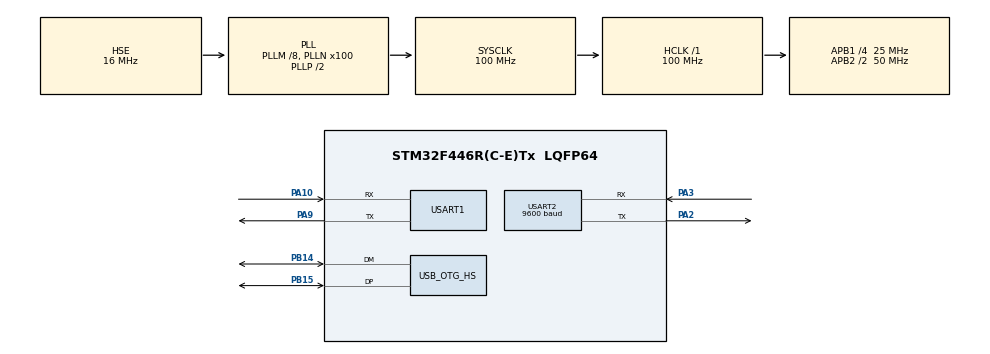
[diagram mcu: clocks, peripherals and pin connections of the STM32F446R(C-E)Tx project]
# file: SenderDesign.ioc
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Dma.Request0=USART2_RX
Dma.Request1=USART2_TX
Dma.USART2_RX.0.Direction=DMA_PERIPH_TO_MEMORY
Dma.USART2_RX.0.FIFOMode=DMA_FIFOMODE_DISABLE
Dma.USART2_RX.0.Instance=DMA1_Stream5
Dma.USART2_RX.0.MemDataAlignment=DMA_MDATAALIGN_BYTE
Dma.USART2_RX.0.MemInc=DMA_MINC_ENABLE
Dma.USART2_RX.0.Mode=DMA_CIRCULAR
Dma.USART2_RX.0.PeriphDataAlignment=DMA_PDATAALIGN_BYTE
Dma.USART2_RX.0.PeriphInc=DMA_PINC_DISABLE
Dma.USART2_RX.0.Priority=DMA_PRIORITY_LOW
Dma.USART2_TX.1.Direction=DMA_MEMORY_TO_PERIPH
Dma.USART2_TX.1.FIFOMode=DMA_FIFOMODE_DISABLE
Dma.USART2_TX.1.Instance=DMA1_Stream6
Dma.USART2_TX.1.MemDataAlignment=DMA_MDATAALIGN_BYTE
Dma.USART2_TX.1.MemInc=DMA_MINC_ENABLE
Dma.USART2_TX.1.Mode=DMA_NORMAL
Dma.USART2_TX.1.PeriphDataAlignment=DMA_PDATAALIGN_BYTE
Dma.USART2_TX.1.PeriphInc=DMA_PINC_DISABLE
Dma.USART2_TX.1.Priority=DMA_PRIORITY_LOW
Mcu.Family=STM32F4
Mcu.Name=STM32F446R(C-E)Tx
Mcu.Package=LQFP64
NVIC.DMA1_Stream5_IRQn=true\:0\:0\:false\:false\:true\:false\:true\:true
NVIC.DMA1_Stream6_IRQn=true\:0\:0\:false\:false\:true\:false\:true\:true
NVIC.OTG_HS_IRQn=true\:0\:0\:false\:false\:true\:true\:true\:true
NVIC.PriorityGroup=NVIC_PRIORITYGROUP_4
NVIC.USART2_IRQn=true\:0\:0\:false\:false\:true\:true\:true\:true
PA10.Mode=Asynchronous
PA10.Signal=USART1_RX
PA2.Mode=Asynchronous
PA2.Signal=USART2_TX
PA3.GPIO_PuPd=GPIO_PULLUP
PA3.Mode=Asynchronous
PA3.Signal=USART2_RX
PA9.Mode=Asynchronous
PA9.Signal=USART1_TX
PB14.Mode=Host_FS
PB14.Signal=USB_OTG_HS_DM
PB15.Mode=Host_FS
PB15.Signal=USB_OTG_HS_DP
PH0-OSC_IN.Mode=HSE-External-Oscillator
PH0-OSC_IN.Signal=RCC_OSC_IN
PH1-OSC_OUT.Mode=HSE-External-Oscillator
PH1-OSC_OUT.Signal=RCC_OSC_OUT
ProjectManager.HeapSize=0x200
ProjectManager.StackSize=0x400
ProjectManager.TargetToolchain=STM32CubeIDE
RCC.AHBFreq_Value=100000000
RCC.APB1CLKDivider=RCC_HCLK_DIV4
RCC.APB1Freq_Value=25000000
RCC.APB1TimFreq_Value=50000000
RCC.APB2CLKDivider=RCC_HCLK_DIV2
RCC.APB2Freq_Value=50000000
RCC.APB2TimFreq_Value=100000000
RCC.CortexFreq_Value=100000000
RCC.HCLKFreq_Value=100000000
RCC.HSE_VALUE=16000000
RCC.PLLM=8
RCC.PLLN=100
RCC.PLLQ=4
RCC.PLLSAIP=RCC_PLLSAIP_DIV4
RCC.SYSCLKFreq_VALUE=100000000
RCC.SYSCLKSource=RCC_SYSCLKSOURCE_PLLCLK
RCC.USBCLockSelection=RCC_CLK48CLKSOURCE_PLLSAIP
RCC.USBFreq_Value=48000000
RCC.VCOOutputFreq_Value=200000000
USART1.VirtualMode=VM_ASYNC
USART2.BaudRate=9600
USART2.VirtualMode=VM_ASYNC
USB_OTG_HS.VirtualMode-Host_FS=Host_FS
board=custom

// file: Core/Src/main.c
/* USER CODE BEGIN Header */
/**
  ******************************************************************************
  * @file           : main.c
  * @brief          : Main program body
  ******************************************************************************
  * @attention
  *
  * Copyright (c) 2025 STMicroelectronics.
  * All rights reserved.
  *
  * This software is licensed under terms that can be found in the LICENSE file
  * in the root directory of this software component.
  * If no LICENSE file comes with this software, it is provided AS-IS.
  *
  ******************************************************************************
  */
/* USER CODE END Header */
#include "main.h"

UART_HandleTypeDef huart1;
UART_HandleTypeDef huart2;
DMA_HandleTypeDef hdma_usart2_rx;
DMA_HandleTypeDef hdma_usart2_tx;

HCD_HandleTypeDef hhcd_USB_OTG_HS;

/* USER CODE BEGIN PV */
queue_t incoming_queue = {};
queue_t outgoing_queue = {};
volatile bool tx_pending = false;
volatile bool hid_device = false;
volatile bool msc_device = false;
/* USER CODE END PV */

void SystemClock_Config(void);
static void MX_GPIO_Init(void);
static void MX_DMA_Init(void);
static void MX_USART2_UART_Init(void);
static void MX_USB_OTG_HS_HCD_Init(void);
static void MX_USART1_UART_Init(void);

/* USER CODE BEGIN 0 */
uint32_t tusb_time_millis_api(void) {
	return HAL_GetTick();
}

int _write(int fd, const void *buf, size_t len) {
  (void)fd;
  HAL_UART_Transmit(&huart1, (uint8_t*)buf, len, HAL_MAX_DELAY); // or huart3 if that’s your VCP
  return (int)len;
}
/* USER CODE END 0 */

int main(void)
{

  /* MCU Configuration--------------------------------------------------------*/

  /* Reset of all peripherals, Initializes the Flash interface and the Systick. */
  HAL_Init();

  /* Configure the system clock */
  SystemClock_Config();

  /* Initialize all configured peripherals */
  MX_GPIO_Init();
  MX_DMA_Init();
  MX_USART2_UART_Init();
  MX_USB_OTG_HS_HCD_Init();
  MX_USART1_UART_Init();
  /* USER CODE BEGIN 2 */
  tusb_init();
  uart_rx_init();
  /* USER CODE END 2 */

  /* Infinite loop */
  /* USER CODE BEGIN WHILE */
  while (1)
  {
	  tuh_task();
	  uart_rx_service_sender();
	  uart_tx_service_sender();
    /* USER CODE END WHILE */

  }
}

void SystemClock_Config(void)
{
  RCC_OscInitTypeDef RCC_OscInitStruct = {0};
  RCC_ClkInitTypeDef RCC_ClkInitStruct = {0};

  /** Configure the main internal regulator output voltage
  */
  __HAL_RCC_PWR_CLK_ENABLE();
  __HAL_PWR_VOLTAGESCALING_CONFIG(PWR_REGULATOR_VOLTAGE_SCALE3);

  /** Initializes the RCC Oscillators according to the specified parameters
  * in the RCC_OscInitTypeDef structure.
  */
  RCC_OscInitStruct.OscillatorType = RCC_OSCILLATORTYPE_HSE;
  RCC_OscInitStruct.HSEState = RCC_HSE_ON;
  RCC_OscInitStruct.PLL.PLLState = RCC_PLL_ON;
  RCC_OscInitStruct.PLL.PLLSource = RCC_PLLSOURCE_HSE;
  RCC_OscInitStruct.PLL.PLLM = 8;
  RCC_OscInitStruct.PLL.PLLN = 100;
  RCC_OscInitStruct.PLL.PLLP = RCC_PLLP_DIV2;
  RCC_OscInitStruct.PLL.PLLQ = 4;
  RCC_OscInitStruct.PLL.PLLR = 2;
  if (HAL_RCC_OscConfig(&RCC_OscInitStruct) != HAL_OK)
  {
    Error_Handler();
  }

  /** Initializes the CPU, AHB and APB buses clocks
  */
  RCC_ClkInitStruct.ClockType = RCC_CLOCKTYPE_HCLK|RCC_CLOCKTYPE_SYSCLK
                              |RCC_CLOCKTYPE_PCLK1|RCC_CLOCKTYPE_PCLK2;
  RCC_ClkInitStruct.SYSCLKSource = RCC_SYSCLKSOURCE_PLLCLK;
  RCC_ClkInitStruct.AHBCLKDivider = RCC_SYSCLK_DIV1;
  RCC_ClkInitStruct.APB1CLKDivider = RCC_HCLK_DIV4;
  RCC_ClkInitStruct.APB2CLKDivider = RCC_HCLK_DIV2;

  if (HAL_RCC_ClockConfig(&RCC_ClkInitStruct, FLASH_LATENCY_3) != HAL_OK)
  {
    Error_Handler();
  }
}

static void MX_USART1_UART_Init(void)
{

  huart1.Instance = USART1;
  huart1.Init.BaudRate = 115200;
  huart1.Init.WordLength = UART_WORDLENGTH_8B;
  huart1.Init.StopBits = UART_STOPBITS_1;
  huart1.Init.Parity = UART_PARITY_NONE;
  huart1.Init.Mode = UART_MODE_TX_RX;
  huart1.Init.HwFlowCtl = UART_HWCONTROL_NONE;
  huart1.Init.OverSampling = UART_OVERSAMPLING_16;
  if (HAL_UART_Init(&huart1) != HAL_OK)
  {
    Error_Handler();
  }

}

static void MX_USART2_UART_Init(void)
{

  huart2.Instance = USART2;
  huart2.Init.BaudRate = 9600;
  huart2.Init.WordLength = UART_WORDLENGTH_8B;
  huart2.Init.StopBits = UART_STOPBITS_1;
  huart2.Init.Parity = UART_PARITY_NONE;
  huart2.Init.Mode = UART_MODE_TX_RX;
  huart2.Init.HwFlowCtl = UART_HWCONTROL_NONE;
  huart2.Init.OverSampling = UART_OVERSAMPLING_16;
  if (HAL_UART_Init(&huart2) != HAL_OK)
  {
    Error_Handler();
  }

}

static void MX_USB_OTG_HS_HCD_Init(void)
{

  hhcd_USB_OTG_HS.Instance = USB_OTG_HS;
  hhcd_USB_OTG_HS.Init.Host_channels = 16;
  hhcd_USB_OTG_HS.Init.speed = HCD_SPEED_FULL;
  hhcd_USB_OTG_HS.Init.dma_enable = DISABLE;
  hhcd_USB_OTG_HS.Init.phy_itface = USB_OTG_EMBEDDED_PHY;
  hhcd_USB_OTG_HS.Init.Sof_enable = DISABLE;
  hhcd_USB_OTG_HS.Init.low_power_enable = DISABLE;
  hhcd_USB_OTG_HS.Init.vbus_sensing_enable = DISABLE;
  hhcd_USB_OTG_HS.Init.use_external_vbus = DISABLE;
  if (HAL_HCD_Init(&hhcd_USB_OTG_HS) != HAL_OK)
  {
    Error_Handler();
  }

}

static void MX_DMA_Init(void)
{

  /* DMA controller clock enable */
  __HAL_RCC_DMA1_CLK_ENABLE();

  /* DMA interrupt init */
  /* DMA1_Stream5_IRQn interrupt configuration */
  HAL_NVIC_SetPriority(DMA1_Stream5_IRQn, 0, 0);
  HAL_NVIC_EnableIRQ(DMA1_Stream5_IRQn);
  /* DMA1_Stream6_IRQn interrupt configuration */
  HAL_NVIC_SetPriority(DMA1_Stream6_IRQn, 0, 0);
  HAL_NVIC_EnableIRQ(DMA1_Stream6_IRQn);

}

static void MX_GPIO_Init(void)
{

  /* GPIO Ports Clock Enable */
  __HAL_RCC_GPIOH_CLK_ENABLE();
  __HAL_RCC_GPIOA_CLK_ENABLE();
  __HAL_RCC_GPIOB_CLK_ENABLE();

}

void Error_Handler(void)
{
  __disable_irq();
  while (1)
  {
  }
}
